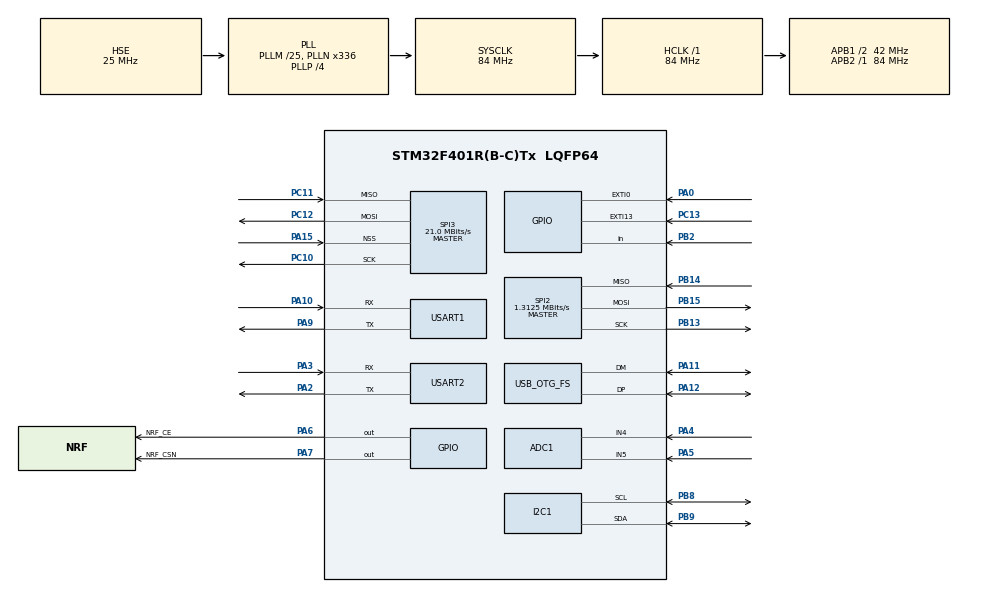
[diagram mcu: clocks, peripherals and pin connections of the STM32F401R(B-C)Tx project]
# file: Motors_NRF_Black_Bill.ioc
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ADC1.Channel-0\#ChannelRegularConversion=ADC_CHANNEL_4
ADC1.NbrOfConversionFlag=1
ADC1.Rank-0\#ChannelRegularConversion=1
ADC1.SamplingTime-0\#ChannelRegularConversion=ADC_SAMPLETIME_3CYCLES
ADC1.master=1
Mcu.Family=STM32F4
Mcu.Name=STM32F401R(B-C)Tx
Mcu.Package=LQFP64
NVIC.I2C1_ER_IRQn=true\:0\:0\:false\:false\:true\:true\:true\:true
NVIC.I2C1_EV_IRQn=true\:0\:0\:false\:false\:true\:true\:true\:true
NVIC.OTG_FS_IRQn=true\:0\:0\:false\:false\:true\:false\:true\:true
NVIC.PriorityGroup=NVIC_PRIORITYGROUP_4
NVIC.SPI2_IRQn=true\:0\:0\:false\:false\:true\:true\:true\:true
PA0-WKUP.GPIO_ModeDefaultEXTI=GPIO_MODE_IT_FALLING
PA0-WKUP.Signal=GPXTI0
PA10.Mode=Asynchronous
PA10.Signal=USART1_RX
PA11.Mode=Device_Only
PA11.Signal=USB_OTG_FS_DM
PA12.Mode=Device_Only
PA12.Signal=USB_OTG_FS_DP
PA13.Mode=Serial_Wire
PA13.Signal=SYS_JTMS-SWDIO
PA14.Mode=Serial_Wire
PA14.Signal=SYS_JTCK-SWCLK
PA15.Mode=NSS_Signal_Hard_Input
PA15.Signal=SPI3_NSS
PA2.Mode=Asynchronous
PA2.Signal=USART2_TX
PA3.Mode=Asynchronous
PA3.Signal=USART2_RX
PA4.Signal=ADCx_IN4
PA5.Signal=ADCx_IN5
PA6.GPIO_Label=NRF_CE
PA6.GPIO_Speed=GPIO_SPEED_FREQ_HIGH
PA6.Signal=GPIO_Output
PA7.GPIO_Label=NRF_CSN
PA7.GPIO_Speed=GPIO_SPEED_FREQ_HIGH
PA7.Signal=GPIO_Output
PA9.Mode=Asynchronous
PA9.Signal=USART1_TX
PB10.Signal=I2C2_SCL
PB12.Signal=SPI2_NSS
PB13.Mode=Full_Duplex_Master
PB13.Signal=SPI2_SCK
PB14.Mode=Full_Duplex_Master
PB14.Signal=SPI2_MISO
PB15.Mode=Full_Duplex_Master
PB15.Signal=SPI2_MOSI
PB2.Signal=GPIO_Input
PB3.Signal=I2C2_SDA
PB8.Mode=I2C
PB8.Signal=I2C1_SCL
PB9.Mode=I2C
PB9.Signal=I2C1_SDA
PC10.Mode=Full_Duplex_Master
PC10.Signal=SPI3_SCK
PC11.Mode=Full_Duplex_Master
PC11.Signal=SPI3_MISO
PC12.Mode=Full_Duplex_Master
PC12.Signal=SPI3_MOSI
PC13-ANTI_TAMP.Signal=GPXTI13
PH0\ -\ OSC_IN.Mode=HSE-External-Oscillator
PH0\ -\ OSC_IN.Signal=RCC_OSC_IN
PH1\ -\ OSC_OUT.Mode=HSE-External-Oscillator
PH1\ -\ OSC_OUT.Signal=RCC_OSC_OUT
ProjectManager.HeapSize=0x200
ProjectManager.StackSize=0x400
ProjectManager.TargetToolchain=STM32CubeIDE
RCC.48MHZClocksFreq_Value=48000000
RCC.AHBFreq_Value=84000000
RCC.APB1CLKDivider=RCC_HCLK_DIV2
RCC.APB1Freq_Value=42000000
RCC.APB1TimFreq_Value=84000000
RCC.APB2Freq_Value=84000000
RCC.APB2TimFreq_Value=84000000
RCC.CortexFreq_Value=84000000
RCC.HCLKFreq_Value=84000000
RCC.HSE_VALUE=25000000
RCC.HSI_VALUE=16000000
RCC.LSE_VALUE=32768
RCC.PLLM=25
RCC.PLLN=336
RCC.PLLP=RCC_PLLP_DIV4
RCC.PLLQ=7
RCC.SYSCLKFreq_VALUE=84000000
RCC.SYSCLKSource=RCC_SYSCLKSOURCE_PLLCLK
RCC.VCOOutputFreq_Value=336000000
SH.ADCx_IN4.0=ADC1_IN4,IN4
SH.ADCx_IN5.0=ADC1_IN5,IN5
SPI2.BaudRatePrescaler=SPI_BAUDRATEPRESCALER_32
SPI2.CalculateBaudRate=1.3125 MBits/s
SPI2.Direction=SPI_DIRECTION_2LINES
SPI2.Mode=SPI_MODE_MASTER
SPI2.VirtualType=VM_MASTER
SPI3.CalculateBaudRate=21.0 MBits/s
SPI3.Direction=SPI_DIRECTION_2LINES
SPI3.Mode=SPI_MODE_MASTER
SPI3.VirtualNSS=VM_NSSHARD
SPI3.VirtualType=VM_MASTER
TIM1.Prescaler=83
USART1.VirtualMode=VM_ASYNC
USART2.VirtualMode=VM_ASYNC
USB_DEVICE.CLASS_NAME_FS=CDC
USB_DEVICE.VirtualMode=Cdc
USB_DEVICE.VirtualModeFS=Cdc_FS
USB_OTG_FS.VirtualMode=Device_Only
VP_TIM1_VS_ClockSourceINT.Mode=Internal
VP_USB_DEVICE_VS_USB_DEVICE_CDC_FS.Mode=CDC_FS
board=custom

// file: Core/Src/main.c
/* USER CODE BEGIN Header */
/**
  ******************************************************************************
  * @file           : main.c
  * @brief          : Main program body
  ******************************************************************************
  */
/* USER CODE END Header */

#include "main.h"
#include "usb_device.h"

/* USER CODE BEGIN Includes */
#include "Hiwonder_Motor.h"
#include <string.h>
#include <stdio.h>
#include <stdlib.h>
#include "usbd_cdc_if.h"
#include "NRF24.h"
#include "robot_control.h"
#include "motor_test.h"
/* USER CODE END Includes */

/* USER CODE BEGIN PD */
/*
 * OPERATING MODE SELECT
 * Uncomment exactly ONE of the two lines below, or leave both commented.
 *
 * MODE_NRF_TEST_ONLY — radio only. No motors initialised, no PID.
 *   Use this first to confirm NRF is receiving commands correctly
 *   before connecting motors. Prints every received command to USB.
 *
 * MODE_RAW_PWM — motors run open loop. No PID, no kinematics.
 *   Use this as a sanity check that motors physically respond to
 *   commands before trusting the PID system. Same as your original
 *   working code.
 *
 * Both commented out — full PID mode. NRF and USB commands go through
 *   inverse kinematics and closed-loop PID. This is normal operation.
 */
// #define MODE_NRF_TEST_ONLY
// #define MODE_RAW_PWM
/* USER CODE END PD */

ADC_HandleTypeDef  hadc1;
I2C_HandleTypeDef  hi2c1;
SPI_HandleTypeDef  hspi2;
SPI_HandleTypeDef  hspi3;
TIM_HandleTypeDef  htim1;
UART_HandleTypeDef huart1;
UART_HandleTypeDef huart2;

/* USER CODE BEGIN PV */
int32_t  encoders[4];
uint16_t battery_voltage;
float    distances[4];
float    rpms[4];

/*
 * controller_input is only used in full PID mode.
 * Declared here for all modes to keep compilation clean.
 */
ControllerInput controller_input;

uint8_t nrfAddress[5] = {'0','0','0','0','1'};
/* USER CODE END PV */

void SystemClock_Config(void);
static void MX_GPIO_Init(void);
static void MX_ADC1_Init(void);
static void MX_I2C1_Init(void);
static void MX_SPI2_Init(void);
static void MX_USART1_UART_Init(void);
static void MX_USART2_UART_Init(void);
static void MX_SPI3_Init(void);
static void MX_TIM1_Init(void);

/* USER CODE BEGIN 0 */
void USB_Print(const char *msg) {
    CDC_Transmit_FS((uint8_t*)msg, strlen(msg));
    HAL_Delay(10);
}
/* USER CODE END 0 */

int main(void)
{
  HAL_Init();
  SystemClock_Config();

  MX_GPIO_Init();
  MX_ADC1_Init();
  MX_I2C1_Init();
  MX_SPI2_Init();
  MX_USART1_UART_Init();
  MX_USART2_UART_Init();
  MX_USB_DEVICE_Init();
  MX_SPI3_Init();
  MX_TIM1_Init();

  /* USER CODE BEGIN 2 */
  GPIO_InitTypeDef GPIO_InitStruct = {0};
  __HAL_RCC_GPIOB_CLK_ENABLE();
  GPIO_InitStruct.Pin       = GPIO_PIN_8 | GPIO_PIN_9;
  GPIO_InitStruct.Mode      = GPIO_MODE_AF_OD;
  GPIO_InitStruct.Pull      = GPIO_PULLUP;
  GPIO_InitStruct.Speed     = GPIO_SPEED_FREQ_VERY_HIGH;
  GPIO_InitStruct.Alternate = GPIO_AF4_I2C1;
  HAL_GPIO_Init(GPIOB, &GPIO_InitStruct);

  /* ── MOTOR INIT ─────────────────────────────────────────────────────────
   * Skipped entirely in NRF_TEST_ONLY mode — no I2C traffic to motor board.
   * In RAW_PWM and full PID mode, motors are always initialised.
   * ----------------------------------------------------------------------- */
#ifndef MODE_NRF_TEST_ONLY
  HAL_Delay(2000);
  Motor_Init(&hi2c1);

  HAL_StatusTypeDef i2c_check = Motor_SetType(0);
  if (i2c_check != HAL_OK) {
      while (1) {
          HAL_GPIO_TogglePin(GPIOC, GPIO_PIN_13);
          HAL_Delay(200);
      }
  }
  HAL_Delay(100);
  Motor_SetPolarity(0);
  HAL_Delay(100);
  Motor_ResetEncoders();
  HAL_Delay(100);
#endif

  /* ── CALIBRATION / TEST MODE ─────────────────────────────────────────────
   * Only available when motors are initialised (not in NRF_TEST_ONLY).
   * Uncomment Motor_Test_Run() to enter test mode on startup.
   * Send 'x' over USB to exit and continue to normal operation.
   * Comment back out for deployment.
   * ----------------------------------------------------------------------- */
#ifndef MODE_NRF_TEST_ONLY
 // Motor_Test_Run();
#endif

  /* ── PID INIT ────────────────────────────────────────────────────────────
   * Only initialised in full PID mode.
   * RAW_PWM mode does not use PID structs.
   * ----------------------------------------------------------------------- */
#if !defined(MODE_NRF_TEST_ONLY) && !defined(MODE_RAW_PWM)
  Robot_Init();
#endif

  /* ── NRF INIT ────────────────────────────────────────────────────────────
   * Identical setup across all three modes.
   * ----------------------------------------------------------------------- */
  HAL_Delay(3000);

#if defined(MODE_NRF_TEST_ONLY)
  USB_Print("=== MODE: NRF TEST ONLY (no motors) ===\r\n");
#elif defined(MODE_RAW_PWM)
  USB_Print("=== MODE: RAW PWM (open loop, no PID) ===\r\n");
#else
  USB_Print("=== MODE: FULL PID ===\r\n");
#endif

  nrf24_init();
  HAL_Delay(100);
  nrf24_set_channel(76);
  nrf24_data_rate(_250kbps);
  nrf24_set_addr_width(5);
  nrf24_tx_pwr(_0dbm);
  nrf24_flush_tx();
  nrf24_flush_rx();
  nrf24_clear_rx_dr();
  nrf24_clear_tx_ds();
  nrf24_clear_max_rt();

  nrf24_open_rx_pipe(0, nrfAddress);
  nrf24_pipe_pld_size(0, 1);
  nrf24_auto_ack(0, enable);

  uint8_t nrf_status = nrf24_r_status();
  char dbg[60];
  snprintf(dbg, sizeof(dbg), "[NRF] STATUS = 0x%02X\r\n", nrf_status);
  USB_Print(dbg);

  if      (nrf_status == 0xFF) USB_Print("[NRF] ERROR: SPI stuck high\r\n");
  else if (nrf_status == 0x00) USB_Print("[NRF] ERROR: SPI stuck low\r\n");
  else                         USB_Print("[NRF] SPI OK\r\n");

  nrf24_listen();
  USB_Print("[NRF] Listening...\r\n");
  /* USER CODE END 2 */

  /* USER CODE BEGIN WHILE */
  while (1)
  {
      /* ── 1. NRF RECEIVE ──────────────────────────────────────────────── */
      if (nrf24_data_available())
      {
          uint8_t rxByte[1] = {0};
          nrf24_receive(rxByte, 1);
          nrf24_clear_rx_dr();
          char cmd = (char)rxByte[0];

#if defined(MODE_NRF_TEST_ONLY)
          /* ── NRF TEST ONLY: just print, no motors ─────────────────────
           * This is your original NRF test block, kept exactly as it was.
           * Use this to verify radio is receiving before touching motors.
           * ------------------------------------------------------------ */
          const char *cmdName = "UNKNOWN";
          if      (cmd == 'f') cmdName = "FORWARD";
          else if (cmd == 'b') cmdName = "BACKWARD";
          else if (cmd == 'l') cmdName = "STRAFE LEFT";
          else if (cmd == 'r') cmdName = "STRAFE RIGHT";
          else if (cmd == 'q') cmdName = "ROTATE LEFT";
          else if (cmd == 'e') cmdName = "ROTATE RIGHT";
          else if (cmd == 's') cmdName = "STOP";
          char log_nrf[60];
          snprintf(log_nrf, sizeof(log_nrf),
              "[NRF] Received: '%c' --> %s\r\n", cmd, cmdName);
          USB_Print(log_nrf);

#elif defined(MODE_RAW_PWM)
          /* ── RAW PWM: open loop, no PID ───────────────────────────────
           * This is your original working motor drive block, kept exactly
           * as it was. Use this to confirm motors physically respond to
           * commands before trusting the PID system.
           * ------------------------------------------------------------ */
          s8 pwm[4] = {0, 0, 0, 0};
          if      (cmd == 'f') { s8 p[4] = { 50,  50,  50,  50}; memcpy(pwm, p, 4); }
          else if (cmd == 'b') { s8 p[4] = {-50, -50, -50, -50}; memcpy(pwm, p, 4); }
          else if (cmd == 'l') { s8 p[4] = {-50,  50,  50, -50}; memcpy(pwm, p, 4); }
          else if (cmd == 'r') { s8 p[4] = { 50, -50, -50,  50}; memcpy(pwm, p, 4); }
          else if (cmd == 'q') { s8 p[4] = {-50,  50, -50,  50}; memcpy(pwm, p, 4); }
          else if (cmd == 'e') { s8 p[4] = { 50, -50,  50, -50}; memcpy(pwm, p, 4); }
          else if (cmd == 's') { s8 p[4] = {  0,   0,   0,   0}; memcpy(pwm, p, 4); }
          Motor_SetPWM(pwm[0], pwm[1], pwm[2], pwm[3]);
          char log_pwm[60];
          snprintf(log_pwm, sizeof(log_pwm),
              "[NRF] CMD:'%c' | PWM:%d %d %d %d\r\n",
              cmd, pwm[0], pwm[1], pwm[2], pwm[3]);
          USB_Print(log_pwm);

#else
          /* ── FULL PID: kinematics + closed loop ───────────────────────
           * NRF command fills the ControllerInput struct.
           * Robot_UpdateControl() converts it to RPM targets via kinematics.
           * Robot_PIDUpdate() closes the loop using encoder feedback.
           * ------------------------------------------------------------ */
          controller_input = (ControllerInput){0};
          if      (cmd == 'f') controller_input.forward      = 1;
          else if (cmd == 'b') controller_input.backward     = 1;
          else if (cmd == 'l') controller_input.strafe_left  = 1;
          else if (cmd == 'r') controller_input.strafe_right = 1;
          else if (cmd == 'q') controller_input.rotate_left  = 1;
          else if (cmd == 'e') controller_input.rotate_right = 1;
          else if (cmd == 's') controller_input.stop         = 1;
          char log_pid[40];
          snprintf(log_pid, sizeof(log_pid), "[NRF] CMD:'%c'\r\n", cmd);
          USB_Print(log_pid);
#endif
      }

      /* ── 2. USB FALLBACK COMMANDS ────────────────────────────────────── */
      extern uint8_t UserRxBufferFS[];
      char usb_cmd = UserRxBufferFS[0];

      if (usb_cmd != 0)
      {
#if defined(MODE_NRF_TEST_ONLY)
          /* ── NRF TEST ONLY: just print USB command ────────────────────
           * Your original USB print block, kept exactly as it was.
           * ------------------------------------------------------------ */
          char usblog[40];
          snprintf(usblog, sizeof(usblog),
              "[USB] Received: '%c'\r\n", usb_cmd);
          USB_Print(usblog);
          UserRxBufferFS[0] = 0;

#elif defined(MODE_RAW_PWM)
          /* ── RAW PWM: open loop USB commands ──────────────────────────
           * Your original USB motor drive block, kept exactly as it was.
           * ------------------------------------------------------------ */
          s8 pwm[4] = {0, 0, 0, 0};
          if      (usb_cmd == 'f') { s8 p[4] = { 50,  50,  50,  50}; memcpy(pwm,p,4); USB_Print("Motors: FORWARD\r\n");   }
          else if (usb_cmd == 'b') { s8 p[4] = {-50, -50, -50, -50}; memcpy(pwm,p,4); USB_Print("Motors: BACKWARD\r\n");  }
          else if (usb_cmd == 'l') { s8 p[4] = {-50,  50,  50, -50}; memcpy(pwm,p,4); USB_Print("Motors: STRAFE L\r\n");  }
          else if (usb_cmd == 'r') { s8 p[4] = { 50, -50, -50,  50}; memcpy(pwm,p,4); USB_Print("Motors: STRAFE R\r\n");  }
          else if (usb_cmd == 'q') { s8 p[4] = {-50,  50, -50,  50}; memcpy(pwm,p,4); USB_Print("Motors: ROTATE L\r\n");  }
          else if (usb_cmd == 'e') { s8 p[4] = { 50, -50,  50, -50}; memcpy(pwm,p,4); USB_Print("Motors: ROTATE R\r\n");  }
          else if (usb_cmd == 's') { s8 p[4] = {  0,   0,   0,   0}; memcpy(pwm,p,4); USB_Print("Motors: STOP\r\n");      }
          Motor_SetPWM(pwm[0], pwm[1], pwm[2], pwm[3]);
          UserRxBufferFS[0] = 0;

#else
          /* ── FULL PID: USB commands + live gain tuning ────────────────
           * Motor commands fill the struct same as NRF.
           * P/I/D commands let you tune gains live without reflashing.
           * Type "P1.5" to set Kp=1.5, "I0.3" to set Ki=0.3, etc.
           * ------------------------------------------------------------ */
          UserRxBufferFS[0] = 0;
          controller_input = (ControllerInput){0};

          if      (usb_cmd == 'f') { controller_input.forward      = 1; USB_Print("[USB] FORWARD\r\n");  }
          else if (usb_cmd == 'b') { controller_input.backward     = 1; USB_Print("[USB] BACKWARD\r\n"); }
          else if (usb_cmd == 'l') { controller_input.strafe_left  = 1; USB_Print("[USB] STRAFE L\r\n"); }
          else if (usb_cmd == 'r') { controller_input.strafe_right = 1; USB_Print("[USB] STRAFE R\r\n"); }
          else if (usb_cmd == 'q') { controller_input.rotate_left  = 1; USB_Print("[USB] ROTATE L\r\n"); }
          else if (usb_cmd == 'e') { controller_input.rotate_right = 1; USB_Print("[USB] ROTATE R\r\n"); }
          else if (usb_cmd == 's') { controller_input.stop         = 1; USB_Print("[USB] STOP\r\n");     }
          else if (usb_cmd == 'P' || usb_cmd == 'I' || usb_cmd == 'D') {
              float val = atof((char*)&UserRxBufferFS[1]);
              Robot_SetGains(usb_cmd, val);
              char ack[50];
              snprintf(ack, sizeof(ack), "[USB] SET %c=%.4f\r\n", usb_cmd, val);
              USB_Print(ack);
          }
#endif
      }

      /* ── 3. CONTROL LOOP AND TELEMETRY ───────────────────────────────── */
#if defined(MODE_NRF_TEST_ONLY)
      /* ── NRF TEST ONLY: no motors, short delay ────────────────────── */
      HAL_Delay(10);

#elif defined(MODE_RAW_PWM)
      /* ── RAW PWM: read telemetry, no PID ─────────────────────────── */
      Motor_ReadVoltage(&battery_voltage);
      Motor_ReadEncoders(encoders);
      Motor_GetKinematics(distances, rpms);

      char msg_raw[200];
      snprintf(msg_raw, sizeof(msg_raw),
          "VOLT:%u mV | ENC:%ld,%ld,%ld,%ld | RPM:%.1f,%.1f,%.1f,%.1f | DIST:%.3f,%.3f,%.3f,%.3f\r\n",
          battery_voltage,
          encoders[0], encoders[1], encoders[2], encoders[3],
          rpms[0],     rpms[1],     rpms[2],     rpms[3],
          distances[0],distances[1],distances[2],distances[3]);
      USB_Print(msg_raw);
      HAL_Delay(500);

#else
      /* ── FULL PID: kinematics → PID → telemetry ───────────────────
       * Robot_UpdateControl : maps controller_input to (Vx,Vy,omega),
       *   runs inverse kinematics, sets RPM targets in PID structs.
       * Motor_GetKinematics : reads encoders, computes actual RPM.
       *   Must come before PIDUpdate so values are fresh.
       * Robot_PIDUpdate     : compares target vs actual RPM, computes
       *   P+I+D correction, sends PWM to Hiwonder board.
       * ------------------------------------------------------------ */
      Robot_UpdateControl(&controller_input);
      Motor_GetKinematics(distances, rpms);
      Robot_PIDUpdate(rpms);

      Motor_ReadVoltage(&battery_voltage);
      Motor_ReadEncoders(encoders);

      float targets[4];
      Robot_GetTargets(targets);

      char msg_pid[250];
      snprintf(msg_pid, sizeof(msg_pid),
          "VOLT:%u | ENC:%ld,%ld,%ld,%ld | RPM:%.1f,%.1f,%.1f,%.1f | TGT:%.1f,%.1f,%.1f,%.1f\r\n",
          battery_voltage,
          encoders[0], encoders[1], encoders[2], encoders[3],
          rpms[0],     rpms[1],     rpms[2],     rpms[3],
          targets[0],  targets[1],  targets[2],  targets[3]);
      USB_Print(msg_pid);
      HAL_Delay(500);
#endif

  }
  /* USER CODE END WHILE */
}

/* ── Peripheral init — all unchanged from your original ── */

void SystemClock_Config(void)
{
  RCC_OscInitTypeDef RCC_OscInitStruct = {0};
  RCC_ClkInitTypeDef RCC_ClkInitStruct = {0};
  __HAL_RCC_PWR_CLK_ENABLE();
  __HAL_PWR_VOLTAGESCALING_CONFIG(PWR_REGULATOR_VOLTAGE_SCALE2);
  RCC_OscInitStruct.OscillatorType = RCC_OSCILLATORTYPE_HSE;
  RCC_OscInitStruct.HSEState       = RCC_HSE_ON;
  RCC_OscInitStruct.PLL.PLLState   = RCC_PLL_ON;
  RCC_OscInitStruct.PLL.PLLSource  = RCC_PLLSOURCE_HSE;
  RCC_OscInitStruct.PLL.PLLM       = 25;
  RCC_OscInitStruct.PLL.PLLN       = 336;
  RCC_OscInitStruct.PLL.PLLP       = RCC_PLLP_DIV4;
  RCC_OscInitStruct.PLL.PLLQ       = 7;
  if (HAL_RCC_OscConfig(&RCC_OscInitStruct) != HAL_OK) Error_Handler();
  RCC_ClkInitStruct.ClockType      = RCC_CLOCKTYPE_HCLK|RCC_CLOCKTYPE_SYSCLK
                                   |RCC_CLOCKTYPE_PCLK1|RCC_CLOCKTYPE_PCLK2;
  RCC_ClkInitStruct.SYSCLKSource   = RCC_SYSCLKSOURCE_PLLCLK;
  RCC_ClkInitStruct.AHBCLKDivider  = RCC_SYSCLK_DIV1;
  RCC_ClkInitStruct.APB1CLKDivider = RCC_HCLK_DIV2;
  RCC_ClkInitStruct.APB2CLKDivider = RCC_HCLK_DIV1;
  if (HAL_RCC_ClockConfig(&RCC_ClkInitStruct, FLASH_LATENCY_2) != HAL_OK) Error_Handler();
}

static void MX_ADC1_Init(void)
{
  ADC_ChannelConfTypeDef sConfig = {0};
  hadc1.Instance                   = ADC1;
  hadc1.Init.ClockPrescaler        = ADC_CLOCK_SYNC_PCLK_DIV4;
  hadc1.Init.Resolution            = ADC_RESOLUTION_12B;
  hadc1.Init.ScanConvMode          = DISABLE;
  hadc1.Init.ContinuousConvMode    = DISABLE;
  hadc1.Init.DiscontinuousConvMode = DISABLE;
  hadc1.Init.ExternalTrigConvEdge  = ADC_EXTERNALTRIGCONVEDGE_NONE;
  hadc1.Init.ExternalTrigConv      = ADC_SOFTWARE_START;
  hadc1.Init.DataAlign             = ADC_DATAALIGN_RIGHT;
  hadc1.Init.NbrOfConversion       = 1;
  hadc1.Init.DMAContinuousRequests = DISABLE;
  hadc1.Init.EOCSelection          = ADC_EOC_SINGLE_CONV;
  if (HAL_ADC_Init(&hadc1) != HAL_OK) Error_Handler();
  sConfig.Channel      = ADC_CHANNEL_4;
  sConfig.Rank         = 1;
  sConfig.SamplingTime = ADC_SAMPLETIME_3CYCLES;
  if (HAL_ADC_ConfigChannel(&hadc1, &sConfig) != HAL_OK) Error_Handler();
}

static void MX_I2C1_Init(void)
{
  hi2c1.Instance             = I2C1;
  hi2c1.Init.ClockSpeed      = 100000;
  hi2c1.Init.DutyCycle       = I2C_DUTYCYCLE_2;
  hi2c1.Init.OwnAddress1     = 0;
  hi2c1.Init.AddressingMode  = I2C_ADDRESSINGMODE_7BIT;
  hi2c1.Init.DualAddressMode = I2C_DUALADDRESS_DISABLE;
  hi2c1.Init.OwnAddress2     = 0;
  hi2c1.Init.GeneralCallMode = I2C_GENERALCALL_DISABLE;
  hi2c1.Init.NoStretchMode   = I2C_NOSTRETCH_DISABLE;
  if (HAL_I2C_Init(&hi2c1) != HAL_OK) Error_Handler();
}

static void MX_SPI2_Init(void)
{
  hspi2.Instance               = SPI2;
  hspi2.Init.Mode              = SPI_MODE_MASTER;
  hspi2.Init.Direction         = SPI_DIRECTION_2LINES;
  hspi2.Init.DataSize          = SPI_DATASIZE_8BIT;
  hspi2.Init.CLKPolarity       = SPI_POLARITY_LOW;
  hspi2.Init.CLKPhase          = SPI_PHASE_1EDGE;
  hspi2.Init.NSS               = SPI_NSS_SOFT;
  hspi2.Init.BaudRatePrescaler = SPI_BAUDRATEPRESCALER_32;
  hspi2.Init.FirstBit          = SPI_FIRSTBIT_MSB;
  hspi2.Init.TIMode            = SPI_TIMODE_DISABLE;
  hspi2.Init.CRCCalculation    = SPI_CRCCALCULATION_DISABLE;
  hspi2.Init.CRCPolynomial     = 10;
  if (HAL_SPI_Init(&hspi2) != HAL_OK) Error_Handler();
}

static void MX_SPI3_Init(void)
{
  hspi3.Instance               = SPI3;
  hspi3.Init.Mode              = SPI_MODE_MASTER;
  hspi3.Init.Direction         = SPI_DIRECTION_2LINES;
  hspi3.Init.DataSize          = SPI_DATASIZE_8BIT;
  hspi3.Init.CLKPolarity       = SPI_POLARITY_LOW;
  hspi3.Init.CLKPhase          = SPI_PHASE_1EDGE;
  hspi3.Init.NSS               = SPI_NSS_HARD_INPUT;
  hspi3.Init.BaudRatePrescaler = SPI_BAUDRATEPRESCALER_2;
  hspi3.Init.FirstBit          = SPI_FIRSTBIT_MSB;
  hspi3.Init.TIMode            = SPI_TIMODE_DISABLE;
  hspi3.Init.CRCCalculation    = SPI_CRCCALCULATION_DISABLE;
  hspi3.Init.CRCPolynomial     = 10;
  if (HAL_SPI_Init(&hspi3) != HAL_OK) Error_Handler();
}

static void MX_TIM1_Init(void)
{
  TIM_ClockConfigTypeDef  sClockSourceConfig = {0};
  TIM_MasterConfigTypeDef sMasterConfig      = {0};
  htim1.Instance               = TIM1;
  htim1.Init.Prescaler         = 83;
  htim1.Init.CounterMode       = TIM_COUNTERMODE_UP;
  htim1.Init.Period            = 65535;
  htim1.Init.ClockDivision     = TIM_CLOCKDIVISION_DIV1;
  htim1.Init.RepetitionCounter = 0;
  htim1.Init.AutoReloadPreload = TIM_AUTORELOAD_PRELOAD_DISABLE;
  if (HAL_TIM_Base_Init(&htim1) != HAL_OK) Error_Handler();
  sClockSourceConfig.ClockSource = TIM_CLOCKSOURCE_INTERNAL;
  if (HAL_TIM_ConfigClockSource(&htim1, &sClockSourceConfig) != HAL_OK) Error_Handler();
  sMasterConfig.MasterOutputTrigger = TIM_TRGO_RESET;
  sMasterConfig.MasterSlaveMode     = TIM_MASTERSLAVEMODE_DISABLE;
  if (HAL_TIMEx_MasterConfigSynchronization(&htim1, &sMasterConfig) != HAL_OK) Error_Handler();
}

static void MX_USART1_UART_Init(void)
{
  huart1.Instance          = USART1;
  huart1.Init.BaudRate     = 115200;
  huart1.Init.WordLength   = UART_WORDLENGTH_8B;
  huart1.Init.StopBits     = UART_STOPBITS_1;
  huart1.Init.Parity       = UART_PARITY_NONE;
  huart1.Init.Mode         = UART_MODE_TX_RX;
  huart1.Init.HwFlowCtl    = UART_HWCONTROL_NONE;
  huart1.Init.OverSampling = UART_OVERSAMPLING_16;
  if (HAL_UART_Init(&huart1) != HAL_OK) Error_Handler();
}

static void MX_USART2_UART_Init(void)
{
  huart2.Instance          = USART2;
  huart2.Init.BaudRate     = 115200;
  huart2.Init.WordLength   = UART_WORDLENGTH_8B;
  huart2.Init.StopBits     = UART_STOPBITS_1;
  huart2.Init.Parity       = UART_PARITY_NONE;
  huart2.Init.Mode         = UART_MODE_TX_RX;
  huart2.Init.HwFlowCtl    = UART_HWCONTROL_NONE;
  huart2.Init.OverSampling = UART_OVERSAMPLING_16;
  if (HAL_UART_Init(&huart2) != HAL_OK) Error_Handler();
}

static void MX_GPIO_Init(void)
{
  GPIO_InitTypeDef GPIO_InitStruct = {0};
  __HAL_RCC_GPIOC_CLK_ENABLE();
  __HAL_RCC_GPIOH_CLK_ENABLE();
  __HAL_RCC_GPIOA_CLK_ENABLE();
  __HAL_RCC_GPIOB_CLK_ENABLE();

  HAL_GPIO_WritePin(GPIOA, NRF_CE_Pin|NRF_CSN_Pin, GPIO_PIN_RESET);

  GPIO_InitStruct.Pin  = GPIO_PIN_13;
  GPIO_InitStruct.Mode = GPIO_MODE_IT_RISING;
  GPIO_InitStruct.Pull = GPIO_NOPULL;
  HAL_GPIO_Init(GPIOC, &GPIO_InitStruct);

  GPIO_InitStruct.Pin  = GPIO_PIN_0;
  GPIO_InitStruct.Mode = GPIO_MODE_IT_FALLING;
  GPIO_InitStruct.Pull = GPIO_NOPULL;
  HAL_GPIO_Init(GPIOA, &GPIO_InitStruct);

  GPIO_InitStruct.Pin   = NRF_CE_Pin|NRF_CSN_Pin;
  GPIO_InitStruct.Mode  = GPIO_MODE_OUTPUT_PP;
  GPIO_InitStruct.Pull  = GPIO_NOPULL;
  GPIO_InitStruct.Speed = GPIO_SPEED_FREQ_HIGH;
  HAL_GPIO_Init(GPIOA, &GPIO_InitStruct);

  GPIO_InitStruct.Pin  = GPIO_PIN_2;
  GPIO_InitStruct.Mode = GPIO_MODE_INPUT;
  GPIO_InitStruct.Pull = GPIO_NOPULL;
  HAL_GPIO_Init(GPIOB, &GPIO_InitStruct);

  GPIO_InitStruct.Pin       = GPIO_PIN_10;
  GPIO_InitStruct.Mode      = GPIO_MODE_AF_OD;
  GPIO_InitStruct.Pull      = GPIO_NOPULL;
  GPIO_InitStruct.Speed     = GPIO_SPEED_FREQ_VERY_HIGH;
  GPIO_InitStruct.Alternate = GPIO_AF4_I2C2;
  HAL_GPIO_Init(GPIOB, &GPIO_InitStruct);

  GPIO_InitStruct.Pin       = GPIO_PIN_3;
  GPIO_InitStruct.Mode      = GPIO_MODE_AF_OD;
  GPIO_InitStruct.Pull      = GPIO_NOPULL;
  GPIO_InitStruct.Speed     = GPIO_SPEED_FREQ_VERY_HIGH;
  GPIO_InitStruct.Alternate = GPIO_AF9_I2C2;
  HAL_GPIO_Init(GPIOB, &GPIO_InitStruct);
}

void Error_Handler(void)
{
  __disable_irq();
  while (1) {}
}
